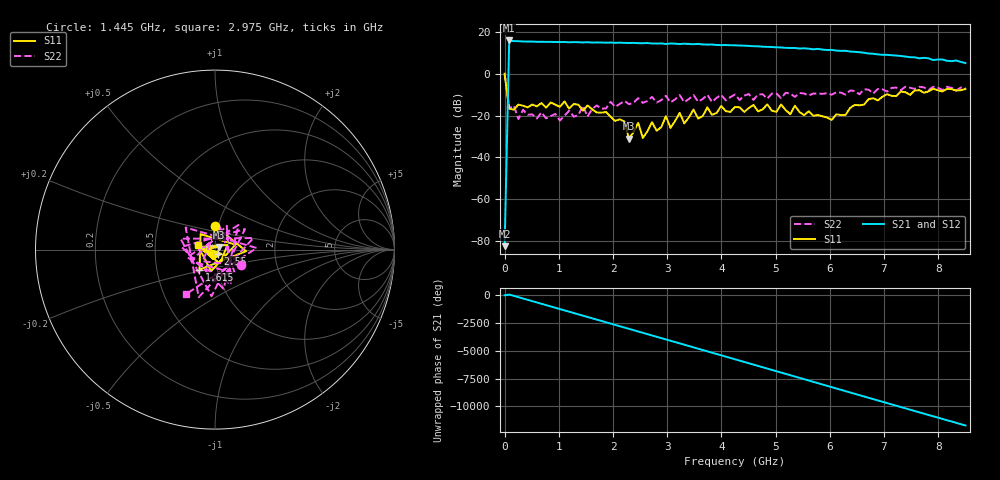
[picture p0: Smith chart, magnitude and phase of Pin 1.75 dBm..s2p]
! RsaToolbox (C) 2013 Rohde & Schwarz America
! Number of points: 101
! Number of ports: 2
! Balanced ports?: 0
# Hz S RI R 50
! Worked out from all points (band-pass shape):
!   101 points, 9 kHz to 8.5 GHz, reference 50 ohm
!   highest |S21| = 15.88 dB at 85.01 MHz (marker M1); lowest = -82.4 dB at 9 kHz (marker M2)
!   |S21| within 3 dB of the highest: 82.41 MHz to 4.788 GHz (4.706 GHz wide, 193 % of centre)
!   lowest |S11| = -31.1 dB at 2.295 GHz (marker M3), VSWR 1.06, Z = 52.4 + j1.58 ohm
!   |S11| at or under -10 dB: 50.98 MHz to 7.04 GHz (6.989 GHz wide, 197 % of centre); 7.078 GHz to 7.252 GHz (173.5 MHz wide, 2.42 % of centre); 7.471697 GHz to 7.484964 GHz (13.27 MHz wide, 0.177 % of centre)
!   |S22| runs from -22.4 to 0.1 dB; largest |S21 - S12| = 0
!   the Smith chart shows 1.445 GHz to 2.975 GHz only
!   S11 on the Smith chart (normalised r, x): 1.445 GHz: 0.97, +0.26; 1.615 GHz: 0.82, -0.19; 2.55 GHz: 1.03, -0.05; 2.975 GHz: 0.83, +0.05
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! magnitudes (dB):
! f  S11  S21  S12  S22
! 9 kHz  0.0  -82.4  -82.4  0.1
! 85.01 MHz  -16.7  15.9  15.9  -16.6
! 1.02 GHz  -15.8  15.1  15.1  -22.4
! 1.445 GHz  -17.7  14.9  14.9  -15.3
! 1.53 GHz  -15.2  15.0  15.0  -20.4
! 1.615 GHz  -17.0  14.9  14.9  -16.8
! 2.21 GHz  -22.8  14.7  14.7  -13.0
! 2.295 GHz  -31.1  14.7  14.7  -14.6
! 2.465 GHz  -23.5  14.6  14.6  -11.7
! 2.55 GHz  -30.7  14.6  14.6  -13.9
! 2.72 GHz  -23.2  14.4  14.4  -11.1
! 2.89 GHz  -25.5  14.5  14.5  -12.7
! 2.975 GHz  -20.3  14.2  14.2  -10.6
! 3.06 GHz  -25.9  14.4  14.4  -13.7
! 3.23 GHz  -18.7  14.2  14.2  -10.2
! 3.315 GHz  -23.7  14.3  14.3  -13.6
! 3.485 GHz  -17.1  14.1  14.1  -10.2
! 3.57 GHz  -21.4  14.2  14.2  -13.4
! 4.25 GHz  -15.9  13.6  13.6  -9.9
! 5.695 GHz  -20.1  11.6  11.6  -9.5
! 7.14 GHz  -10.6  8.8  8.8  -6.8
! 8.5 GHz  -7.3  5.1  5.1  -6.7
